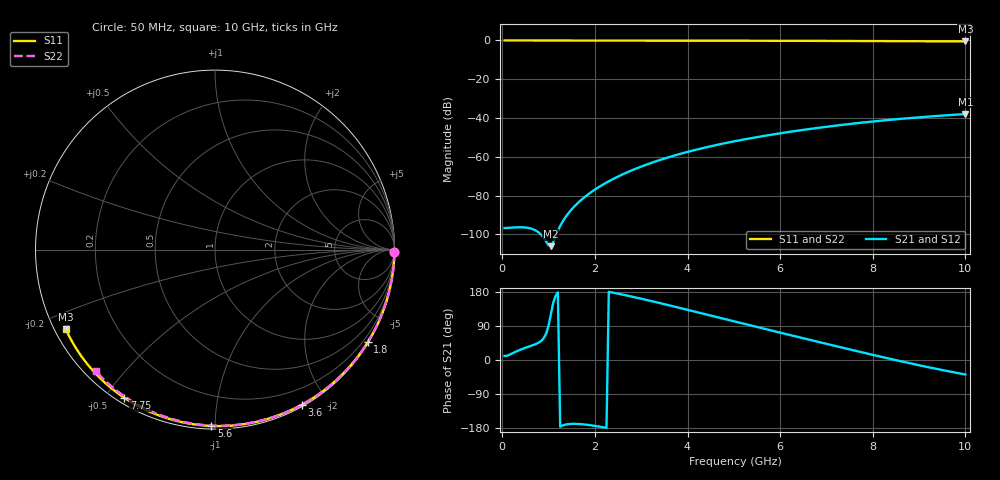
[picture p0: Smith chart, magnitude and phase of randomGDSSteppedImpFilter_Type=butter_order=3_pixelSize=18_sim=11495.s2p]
! freq	dB(S11)	phase(S11)	dB(S12)	phase(S12)
!  dB(S21)	phase(S21)	dB(S22)	phase(S22)
!S-par simulation data
#  GHz  S  DB  R 50
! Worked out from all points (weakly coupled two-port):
!   200 points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, 50 MHz to 10 GHz, reference 50 ohm
!   highest |S21| = -37.94 dB at 10 GHz (marker M1); lowest = -106.1 dB at 1.05 GHz (marker M2)
!   lowest |S11| = -0.5 dB at 10 GHz (marker M3), VSWR 33.51, Z = 1.59 - j12.5 ohm
!   |S11| at or under -10 dB: nowhere
!   |S22| runs from -0.5 to 0.0 dB; largest |S21 - S12| = 0
!   S11 on the Smith chart (normalised r, x): 50 MHz: open; 1.8 GHz: 0.03, -3.58; 3.6 GHz: 0.02, -1.71; 5.6 GHz: 0.02, -0.98; 7.75 GHz: 0.02, -0.56; 10 GHz: 0.03, -0.25
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0.05  -0.00 -0.9  -96.73 10.6  -96.73 10.6  -0.00 -0.8
0.55  -0.01 -9.7  -96.61 34.3  -96.61 34.3  -0.01 -8.4
1.05  -0.02 -18.3  -106.06 122.0  -106.06 122.0  -0.02 -16.0
1.75  -0.04 -30.3  -81.29 -169.9  -81.29 -169.9  -0.03 -26.5
1.8  -0.04 -31.2  -80.33 -170.5  -80.33 -170.5  -0.03 -27.2
1.85  -0.04 -32.0  -79.41 -171.3  -79.41 -171.3  -0.04 -28.0
2  -0.04 -34.6  -76.88 -173.8  -76.88 -173.8  -0.04 -30.2
2.15  -0.05 -37.1  -74.63 -176.8  -74.63 -176.8  -0.04 -32.4
2.5  -0.06 -42.9  -70.15 175.0  -70.15 175.0  -0.05 -37.5
2.9  -0.06 -49.5  -65.95 164.5  -65.95 164.5  -0.06 -43.3
3.4  -0.08 -57.6  -61.64 150.3  -61.64 150.3  -0.07 -50.4
3.6  -0.08 -60.8  -60.14 144.4  -60.14 144.4  -0.07 -53.2
4.3  -0.10 -71.7  -55.65 123.4  -55.65 123.4  -0.09 -62.9
5.05  -0.13 -83.1  -51.80 100.7  -51.80 100.7  -0.11 -73.0
5.6  -0.15 -91.2  -49.42 84.1  -49.42 84.1  -0.13 -80.2
6.15  -0.18 -99.1  -47.32 67.7  -47.32 67.7  -0.15 -87.2
6.7  -0.21 -106.9  -45.44 51.4  -45.44 51.4  -0.18 -94.1
7.2  -0.24 -113.8  -43.91 36.7  -43.91 36.7  -0.21 -100.3
7.75  -0.28 -121.4  -42.40 20.7  -42.40 20.7  -0.25 -107.0
8.35  -0.33 -129.6  -40.97 3.7  -40.97 3.7  -0.29 -114.2
9.2  -0.42 -141.1  -39.26 -19.0  -39.26 -19.0  -0.37 -124.5
10  -0.52 -152.0  -37.94 -38.3  -37.94 -38.3  -0.47 -134.6
